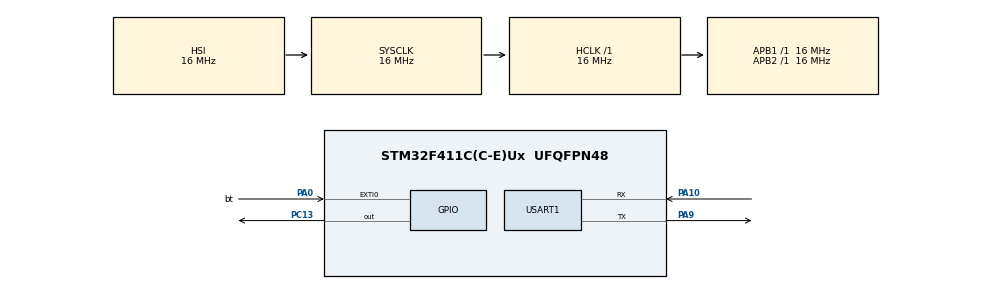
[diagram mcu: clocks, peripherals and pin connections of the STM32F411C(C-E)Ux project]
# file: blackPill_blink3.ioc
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Mcu.Family=STM32F4
Mcu.Name=STM32F411C(C-E)Ux
Mcu.Package=UFQFPN48
NVIC.EXTI0_IRQn=true\:0\:0\:false\:false\:true\:true\:true\:true
NVIC.PriorityGroup=NVIC_PRIORITYGROUP_4
PA0-WKUP.GPIO_Label=bt
PA0-WKUP.GPIO_ModeDefaultEXTI=GPIO_MODE_IT_FALLING
PA0-WKUP.GPIO_PuPd=GPIO_PULLUP
PA0-WKUP.Signal=GPXTI0
PA10.Mode=Asynchronous
PA10.Signal=USART1_RX
PA13.Mode=Serial_Wire
PA13.Signal=SYS_JTMS-SWDIO
PA14.Mode=Serial_Wire
PA14.Signal=SYS_JTCK-SWCLK
PA9.Mode=Asynchronous
PA9.Signal=USART1_TX
PC13-ANTI_TAMP.GPIO_ModeDefaultOutputPP=GPIO_MODE_OUTPUT_OD
PC13-ANTI_TAMP.GPIO_PuPd=GPIO_NOPULL
PC13-ANTI_TAMP.PinState=GPIO_PIN_SET
PC13-ANTI_TAMP.Signal=GPIO_Output
PH0\ -\ OSC_IN.Mode=HSE-External-Oscillator
PH0\ -\ OSC_IN.Signal=RCC_OSC_IN
PH1\ -\ OSC_OUT.Mode=HSE-External-Oscillator
PH1\ -\ OSC_OUT.Signal=RCC_OSC_OUT
ProjectManager.HeapSize=0x200
ProjectManager.StackSize=0x400
ProjectManager.TargetToolchain=STM32CubeIDE
RCC.AHBFreq_Value=16000000
RCC.APB1Freq_Value=16000000
RCC.APB2Freq_Value=16000000
RCC.CortexFreq_Value=16000000
RCC.HSE_VALUE=25000000
RCC.HSI_VALUE=16000000
RCC.LSE_VALUE=32768
RCC.SYSCLKFreq_VALUE=16000000
RCC.VCOOutputFreq_Value=192000000
USART1.VirtualMode=VM_ASYNC
board=custom

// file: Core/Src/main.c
/* USER CODE BEGIN Header */
/**
  ******************************************************************************
  * @file           : main.c
  * @brief          : Main program body
  ******************************************************************************
  * @attention
  *
  * Copyright (c) 2025 STMicroelectronics.
  * All rights reserved.
  *
  * This software is licensed under terms that can be found in the LICENSE file
  * in the root directory of this software component.
  * If no LICENSE file comes with this software, it is provided AS-IS.
  *
  ******************************************************************************
  */
/* USER CODE END Header */
#include "main.h"
#include "stdio.h"

UART_HandleTypeDef huart1;

void SystemClock_Config(void);
static void MX_GPIO_Init(void);
static void MX_USART1_UART_Init(void);
/* USER CODE BEGIN PFP */
volatile uint8_t button_state =0;
uint16_t blink_delays[] = {
        500,
        250,
        100
};
uint8_t blink_delay = 0;
/* USER CODE END PFP */

/* USER CODE BEGIN 0 */
int __io_putchar(int ch)
{
    HAL_UART_Transmit(&huart1, (uint8_t *) ch, 1, HAL_MAX_DELAY);
    return ch;
}
 void HAL_GPIO_EXTI_Callback(uint16_t GPIO_Pin)
{
   if (GPIO_Pin == bt_Pin){
       button_state =1;
   }
}
/* USER CODE END 0 */

int main(void)
{

  /* MCU Configuration--------------------------------------------------------*/

  /* Reset of all peripherals, Initializes the Flash interface and the Systick. */
  HAL_Init();

  /* Configure the system clock */
  SystemClock_Config();

  /* Initialize all configured peripherals */
  MX_GPIO_Init();
  MX_USART1_UART_Init();
  /* USER CODE BEGIN 2 */
  printf("blink2 Starting \n");

  /* USER CODE END 2 */

  /* Infinite loop */
  /* USER CODE BEGIN WHILE */
uint32_t now = 0,  next_blink=500, next_tick=1000, loop_cnt =0;

  while (1)
  {
      now = HAL_GetTick();
            if (now >= next_blink){
                printf("Toggling GPIO\n");
                HAL_GPIO_TogglePin(GPIOC,GPIO_PIN_13);
                next_blink = now + blink_delays[blink_delay];
            }
            if ( now >= next_tick){
                printf("Tick %lu (loop_cnt = %lu)\n", now/1000, loop_cnt);
                loop_cnt=0;
                next_tick=now + 1000;
            }
           ++loop_cnt;  /// how much the loop counts between ticks = 1ms

      if (button_state){
          printf("button pressed\n");
          ++blink_delay ;
          if (blink_delay>=  sizeof(blink_delays)/sizeof(blink_delays[0])){
              blink_delay =0 ;
          }
          button_state =0;
      }
    /* USER CODE END WHILE */

  }
}

void SystemClock_Config(void)
{
  RCC_OscInitTypeDef RCC_OscInitStruct = {0};
  RCC_ClkInitTypeDef RCC_ClkInitStruct = {0};

  /** Configure the main internal regulator output voltage
  */
  __HAL_RCC_PWR_CLK_ENABLE();
  __HAL_PWR_VOLTAGESCALING_CONFIG(PWR_REGULATOR_VOLTAGE_SCALE1);

  /** Initializes the RCC Oscillators according to the specified parameters
  * in the RCC_OscInitTypeDef structure.
  */
  RCC_OscInitStruct.OscillatorType = RCC_OSCILLATORTYPE_HSI;
  RCC_OscInitStruct.HSIState = RCC_HSI_ON;
  RCC_OscInitStruct.HSICalibrationValue = RCC_HSICALIBRATION_DEFAULT;
  RCC_OscInitStruct.PLL.PLLState = RCC_PLL_NONE;
  if (HAL_RCC_OscConfig(&RCC_OscInitStruct) != HAL_OK)
  {
    Error_Handler();
  }

  /** Initializes the CPU, AHB and APB buses clocks
  */
  RCC_ClkInitStruct.ClockType = RCC_CLOCKTYPE_HCLK|RCC_CLOCKTYPE_SYSCLK
                              |RCC_CLOCKTYPE_PCLK1|RCC_CLOCKTYPE_PCLK2;
  RCC_ClkInitStruct.SYSCLKSource = RCC_SYSCLKSOURCE_HSI;
  RCC_ClkInitStruct.AHBCLKDivider = RCC_SYSCLK_DIV1;
  RCC_ClkInitStruct.APB1CLKDivider = RCC_HCLK_DIV1;
  RCC_ClkInitStruct.APB2CLKDivider = RCC_HCLK_DIV1;

  if (HAL_RCC_ClockConfig(&RCC_ClkInitStruct, FLASH_LATENCY_0) != HAL_OK)
  {
    Error_Handler();
  }
}

static void MX_USART1_UART_Init(void)
{

  huart1.Instance = USART1;
  huart1.Init.BaudRate = 115200;
  huart1.Init.WordLength = UART_WORDLENGTH_8B;
  huart1.Init.StopBits = UART_STOPBITS_1;
  huart1.Init.Parity = UART_PARITY_NONE;
  huart1.Init.Mode = UART_MODE_TX_RX;
  huart1.Init.HwFlowCtl = UART_HWCONTROL_NONE;
  huart1.Init.OverSampling = UART_OVERSAMPLING_16;
  if (HAL_UART_Init(&huart1) != HAL_OK)
  {
    Error_Handler();
  }

}

static void MX_GPIO_Init(void)
{
  GPIO_InitTypeDef GPIO_InitStruct = {0};

  /* GPIO Ports Clock Enable */
  __HAL_RCC_GPIOC_CLK_ENABLE();
  __HAL_RCC_GPIOH_CLK_ENABLE();
  __HAL_RCC_GPIOA_CLK_ENABLE();

  /*Configure GPIO pin Output Level */
  HAL_GPIO_WritePin(GPIOC, GPIO_PIN_13, GPIO_PIN_SET);

  /*Configure GPIO pin : PC13 */
  GPIO_InitStruct.Pin = GPIO_PIN_13;
  GPIO_InitStruct.Mode = GPIO_MODE_OUTPUT_OD;
  GPIO_InitStruct.Pull = GPIO_NOPULL;
  GPIO_InitStruct.Speed = GPIO_SPEED_FREQ_LOW;
  HAL_GPIO_Init(GPIOC, &GPIO_InitStruct);

  /*Configure GPIO pin : bt_Pin */
  GPIO_InitStruct.Pin = bt_Pin;
  GPIO_InitStruct.Mode = GPIO_MODE_IT_FALLING;
  GPIO_InitStruct.Pull = GPIO_PULLUP;
  HAL_GPIO_Init(bt_GPIO_Port, &GPIO_InitStruct);

  /* EXTI interrupt init*/
  HAL_NVIC_SetPriority(EXTI0_IRQn, 0, 0);
  HAL_NVIC_EnableIRQ(EXTI0_IRQn);

}

void Error_Handler(void)
{
  __disable_irq();
  while (1)
  {
  }
}
